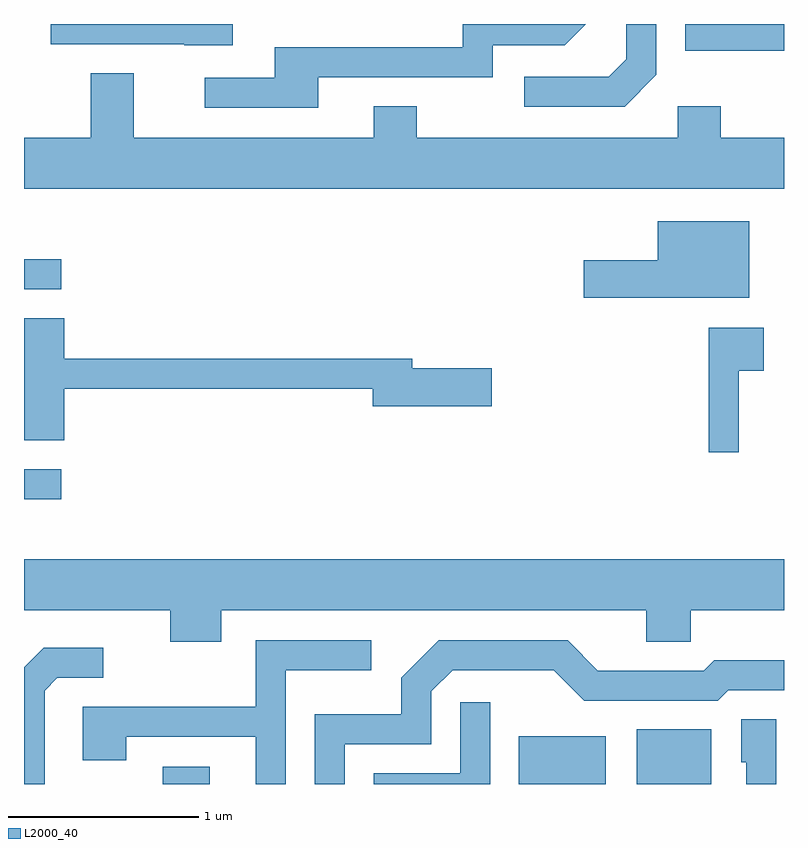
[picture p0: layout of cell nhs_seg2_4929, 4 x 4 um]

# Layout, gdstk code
import gdstk
lib = gdstk.Library(unit=1e-6, precision=1e-09)
def R(c, l, rs):  # rectangles x0, y0, x1, y1
    for r in rs: c.add(gdstk.rectangle(r[:2], r[2:], *l))
def P(c, l, *ps):  # polygons
    for p in ps: c.add(gdstk.Polygon(p, *l))
L2000_40 = (2000, 40)

nhs_seg2_4929 = lib.new_cell('nhs_seg2_4929')
R(nhs_seg2_4929, L2000_40, [(330.341,1091.802,330.589,1091.894), (332.216,1091.802,332.674,1092.054), (332.836,1091.802,333.229,1092.089), (329.611,1093.301,329.808,1093.459), (329.611,1094.406,329.808,1094.564), (333.091,1095.661,333.611,1095.802)])
P(nhs_seg2_4929, L2000_40, [(332.939,1095.534),(332.939,1095.802),(332.781,1095.802),(332.781,1095.617),(332.689,1095.524),(332.243,1095.524),(332.243,1095.366),(332.772,1095.366)],
  [(330.709,1095.802),(329.751,1095.802),(329.751,1095.696),(330.455,1095.696),(330.455,1095.691),(330.709,1095.691)],
  [(331.159,1095.521),(332.079,1095.521),(332.079,1095.691),(332.457,1095.691),(332.567,1095.802),(331.921,1095.802),(331.921,1095.679),(330.931,1095.679),(330.931,1095.519),(330.563,1095.519),(330.563,1095.361),(331.159,1095.361)],
  [(333.611,1095.204),(333.279,1095.204),(333.279,1095.369),(333.051,1095.369),(333.051,1095.204),(331.679,1095.204),(331.679,1095.369),(331.451,1095.369),(331.451,1095.204),(330.189,1095.204),(330.189,1095.544),(329.961,1095.544),(329.961,1095.204),(329.611,1095.204),(329.611,1094.936),(333.611,1094.936)],
  [(333.429,1094.764),(332.946,1094.764),(332.946,1094.559),(332.556,1094.559),(332.556,1094.361),(333.429,1094.361)],
  [(329.824,1093.881),(331.446,1093.881),(331.446,1093.791),(332.074,1093.791),(332.074,1093.989),(331.654,1093.989),(331.654,1094.039),(329.824,1094.039),(329.824,1094.254),(329.611,1094.254),(329.611,1093.611),(329.824,1093.611)],
  [(333.374,1093.976),(333.504,1093.976),(333.504,1094.204),(333.216,1094.204),(333.216,1093.548),(333.374,1093.548)],
  [(330.649,1092.716),(332.886,1092.716),(332.886,1092.551),(333.119,1092.551),(333.119,1092.716),(333.611,1092.716),(333.611,1092.984),(329.611,1092.984),(329.611,1092.716),(330.381,1092.716),(330.381,1092.551),(330.649,1092.551)],
  [(330.989,1092.401),(331.438,1092.401),(331.438,1092.559),(330.831,1092.559),(330.831,1092.209),(329.921,1092.209),(329.921,1091.926),(330.149,1091.926),(330.149,1092.051),(330.831,1092.051),(330.831,1091.802),(330.989,1091.802)],
  [(331.299,1092.011),(331.754,1092.011),(331.754,1092.289),(331.867,1092.401),(332.399,1092.401),(332.559,1092.241),(333.262,1092.241),(333.317,1092.296),(333.611,1092.296),(333.611,1092.454),(333.244,1092.454),(333.189,1092.399),(332.632,1092.399),(332.472,1092.559),(331.794,1092.559),(331.596,1092.362),(331.596,1092.169),(331.141,1092.169),(331.141,1091.802),(331.299,1091.802)],
  [(329.719,1092.294),(329.787,1092.361),(330.028,1092.361),(330.028,1092.519),(329.714,1092.519),(329.611,1092.417),(329.611,1091.802),(329.719,1091.802)],
  [(332.064,1092.233),(331.906,1092.233),(331.906,1091.859),(331.451,1091.859),(331.451,1091.802),(332.064,1091.802)],
  [(333.569,1092.144),(333.386,1092.144),(333.386,1091.916),(333.411,1091.916),(333.411,1091.802),(333.569,1091.802)])

lib.write_gds('nhs_seg2_4929.gds')
